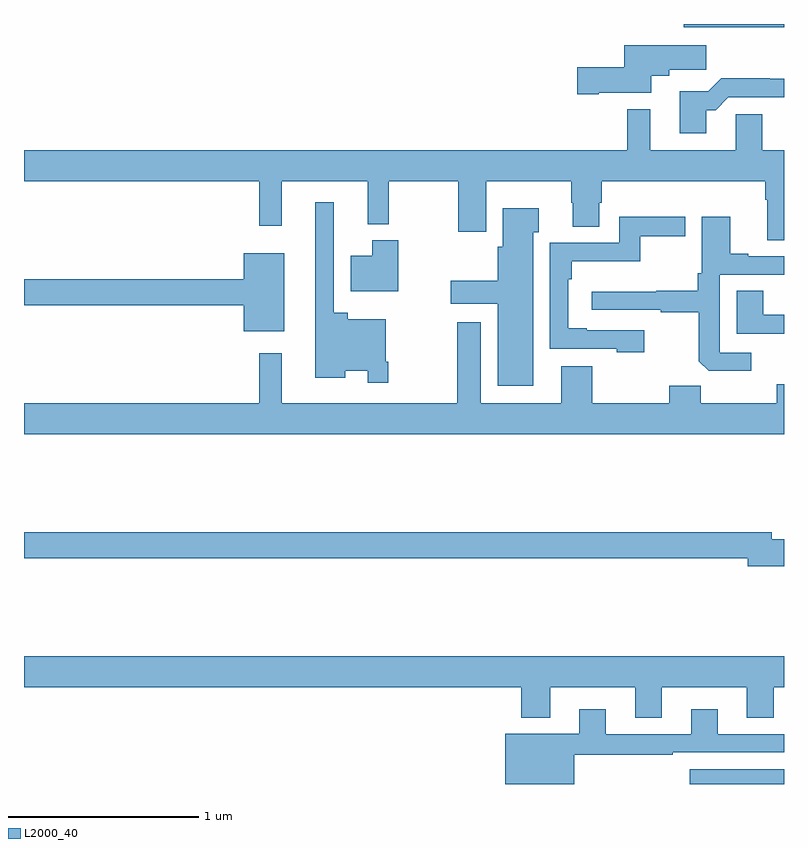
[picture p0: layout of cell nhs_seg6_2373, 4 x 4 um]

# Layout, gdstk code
import gdstk
lib = gdstk.Library(unit=1e-6, precision=1e-09)
def R(c, l, rs):  # rectangles x0, y0, x1, y1
    for r in rs: c.add(gdstk.rectangle(r[:2], r[2:], *l))
def P(c, l, *ps):  # polygons
    for p in ps: c.add(gdstk.Polygon(p, *l))
L2000_40 = (2000, 40)

nhs_seg6_2373 = lib.new_cell('nhs_seg6_2373')
R(nhs_seg6_2373, L2000_40, [(256.503,941.5,257,941.578), (256.472,945.482,257,945.5)])
P(nhs_seg6_2373, L2000_40, [(256.024,945.137),(256.3,945.137),(256.3,945.227),(256.396,945.227),(256.396,945.259),(256.591,945.259),(256.591,945.388),(256.16,945.388),(256.16,945.272),(255.912,945.272),(255.912,945.13),(256.024,945.13)],
  [(256.591,945.047),(256.64,945.047),(256.707,945.114),(257,945.114),(257,945.212),(256.925,945.212),(256.925,945.215),(256.67,945.215),(256.6,945.145),(256.451,945.145),(256.451,944.925),(256.591,944.925)],
  [(257,944.836),(256.885,944.836),(256.885,945.026),(256.746,945.026),(256.746,944.836),(256.297,944.836),(256.297,945.052),(256.176,945.052),(256.176,944.836),(253,944.836),(253,944.672),(254.239,944.672),(254.239,944.439),(254.357,944.439),(254.357,944.672),(254.81,944.672),(254.81,944.447),(254.92,944.447),(254.92,944.672),(255.286,944.672),(255.286,944.406),(255.433,944.406),(255.433,944.672),(255.88,944.672),(255.88,944.559),(255.887,944.559),(255.887,944.434),(256.027,944.434),(256.027,944.559),(256.04,944.559),(256.04,944.672),(256.901,944.672),(256.901,944.576),(256.913,944.576),(256.913,944.362),(257,944.362)],
  [(254.917,943.723),(254.904,943.723),(254.904,943.945),(254.705,943.945),(254.705,943.981),(254.631,943.981),(254.631,944.563),(254.534,944.563),(254.534,943.637),(254.692,943.637),(254.692,943.676),(254.808,943.676),(254.808,943.611),(254.917,943.611)],
  [(255.679,944.405),(255.709,944.405),(255.709,944.53),(255.521,944.53),(255.521,944.328),(255.494,944.328),(255.494,944.149),(255.246,944.149),(255.246,944.027),(255.494,944.027),(255.494,943.595),(255.679,943.595)],
  [(256.264,943.887),(255.961,943.887),(255.961,943.9),(255.864,943.9),(255.864,944.156),(255.884,944.156),(255.884,944.252),(256.243,944.252),(256.243,944.383),(256.48,944.383),(256.48,944.486),(256.134,944.486),(256.134,944.349),(255.768,944.349),(255.768,943.791),(256.119,943.791),(256.119,943.772),(256.264,943.772)],
  [(256.828,943.77),(256.662,943.77),(256.662,944.181),(257,944.181),(257,944.277),(256.813,944.277),(256.813,944.29),(256.717,944.29),(256.717,944.485),(256.566,944.485),(256.566,944.188),(256.546,944.188),(256.546,944.096),(256.327,944.096),(256.327,944.092),(255.987,944.092),(255.987,943.995),(256.351,943.995),(256.351,943.983),(256.551,943.983),(256.551,943.725),(256.603,943.674),(256.828,943.674)],
  [(254.969,944.362),(254.834,944.362),(254.834,944.281),(254.72,944.281),(254.72,944.093),(254.969,944.093)],
  [(254.371,944.293),(254.156,944.293),(254.156,944.156),(253,944.156),(253,944.02),(254.156,944.02),(254.156,943.883),(254.371,943.883)],
  [(257,943.971),(256.891,943.971),(256.891,944.096),(256.751,944.096),(256.751,943.87),(257,943.87)],
  [(257,943.603),(256.961,943.603),(256.961,943.504),(256.561,943.504),(256.561,943.597),(256.397,943.597),(256.397,943.504),(255.991,943.504),(255.991,943.699),(255.827,943.699),(255.827,943.504),(255.403,943.504),(255.403,943.93),(255.28,943.93),(255.28,943.504),(254.356,943.504),(254.356,943.768),(254.239,943.768),(254.239,943.504),(253,943.504),(253,943.34),(257,943.34)],
  [(257,942.788),(256.936,942.788),(256.936,942.824),(253,942.824),(253,942.688),(256.808,942.688),(256.808,942.646),(257,942.646)],
  [(256.357,942.008),(256.805,942.008),(256.805,941.848),(256.945,941.848),(256.945,942.008),(257,942.008),(257,942.172),(253,942.172),(253,942.008),(255.617,942.008),(255.617,941.849),(255.769,941.849),(255.769,942.008),(256.217,942.008),(256.217,941.848),(256.357,941.848)],
  [(255.895,941.655),(256.415,941.655),(256.415,941.667),(257,941.667),(257,941.763),(256.651,941.763),(256.651,941.893),(256.511,941.893),(256.511,941.763),(256.063,941.763),(256.063,941.893),(255.923,941.893),(255.923,941.764),(255.533,941.764),(255.533,941.5),(255.895,941.5)])

lib.write_gds('nhs_seg6_2373.gds')
